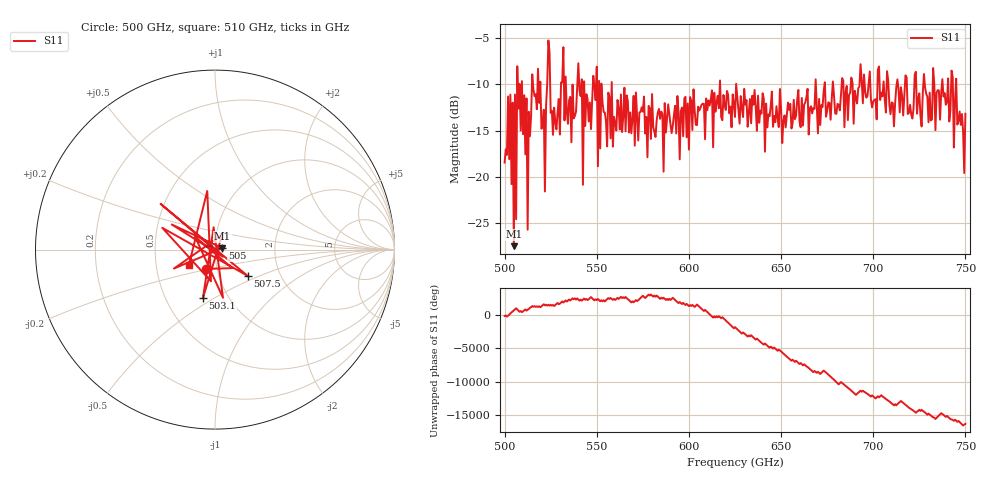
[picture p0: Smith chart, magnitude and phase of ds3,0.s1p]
!Created with skrf (http://scikit-rf.org).
# GHz S RI R 50.0
!freq ReS11 ImS11
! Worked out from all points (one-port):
!   401 points, 500 GHz to 750 GHz, reference 50 ohm
!   lowest |S11| = -27.5 dB at 505 GHz (marker M1), VSWR 1.09, Z = 54.3 + j0.891 ohm
!   |S11| at or under -10 dB: 558.1 GHz to 616.8 GHz (58.64 GHz wide, 9.98 % of centre); 616.9 GHz to 625.6 GHz (8.672 GHz wide, 1.4 % of centre); 625.7 GHz to 668.6 GHz (42.99 GHz wide, 6.64 % of centre) (the widest 3 of 40)
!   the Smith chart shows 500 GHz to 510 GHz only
!   S11 on the Smith chart (normalised r, x): 500 GHz: 0.88, -0.19; 503.1 GHz: 0.76, -0.45; 505 GHz: 1.09, +0.02; 507.5 GHz: 1.37, -0.42; 510 GHz: 0.74, -0.13
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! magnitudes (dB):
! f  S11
! 500 GHz  -18.4
! 503.1 GHz  -11.1
! 505 GHz  -27.5
! 506.9 GHz  -8.0
! 507.5 GHz  -12.6
! 508.1 GHz  -10.0
! 510 GHz  -15.4
! 512.5 GHz  -25.7
! 515.6 GHz  -10.5
! 518.1 GHz  -8.3
! 521.2 GHz  -12.7
! 523.8 GHz  -5.3
! 526.9 GHz  -12.5
! 531.2 GHz  -9.8
! 535 GHz  -11.7
! 540.6 GHz  -10.7
! 543.8 GHz  -14.5
! 548.8 GHz  -10.2
! 551.9 GHz  -16.9
! 562.5 GHz  -14.9
! 593.8 GHz  -11.3
! 625 GHz  -13.5
! 656.2 GHz  -14.2
! 687.5 GHz  -10.9
! 718.8 GHz  -13.2
! 720 GHz  -12.2
! 741.9 GHz  -12.8
! 750 GHz  -13.2
